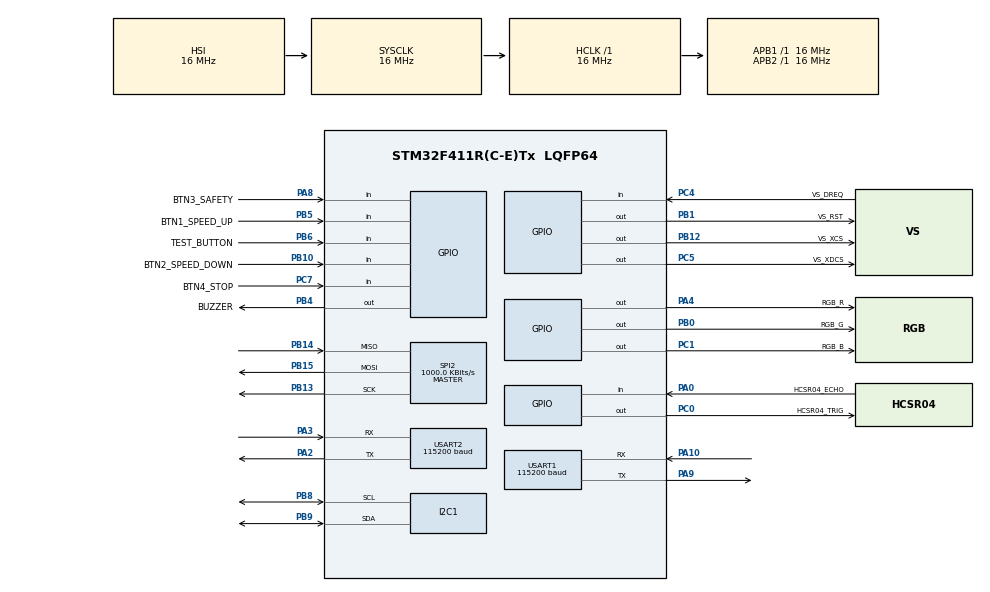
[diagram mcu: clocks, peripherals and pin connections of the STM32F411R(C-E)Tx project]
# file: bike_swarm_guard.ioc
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Mcu.Family=STM32F4
Mcu.Name=STM32F411R(C-E)Tx
Mcu.Package=LQFP64
NVIC.PriorityGroup=NVIC_PRIORITYGROUP_4
NVIC.USART2_IRQn=true\:0\:0\:false\:false\:true\:true\:true\:true
NVIC.USART1_IRQn=true\:0\:0\:false\:false\:true\:true\:true\:true
PA0-WKUP.GPIO_Label=HCSR04_ECHO
PA0-WKUP.GPIO_PuPd=GPIO_PULLDOWN
PA0-WKUP.Signal=GPIO_Input
PA2.Mode=Asynchronous
PA2.Signal=USART2_TX
PA3.Mode=Asynchronous
PA3.Signal=USART2_RX
PA9.Mode=Asynchronous
PA9.Signal=USART1_TX
PA10.Mode=Asynchronous
PA10.Signal=USART1_RX
PA4.GPIO_Label=RGB_R
PA4.Signal=GPIO_Output
PA8.GPIO_Label=BTN3_SAFETY
PA8.GPIO_PuPd=GPIO_PULLUP
PA8.Signal=GPIO_Input
PB0.GPIO_Label=RGB_G
PB0.Signal=GPIO_Output
PB1.GPIO_Label=VS_RST
PB1.PinState=GPIO_PIN_SET
PB1.Signal=GPIO_Output
PB10.GPIO_Label=BTN2_SPEED_DOWN
PB10.GPIO_PuPd=GPIO_PULLUP
PB10.Signal=GPIO_Input
PB12.GPIO_Label=VS_XCS
PB12.PinState=GPIO_PIN_SET
PB12.Signal=GPIO_Output
PB13.Mode=Full_Duplex_Master
PB13.Signal=SPI2_SCK
PB14.Mode=Full_Duplex_Master
PB14.Signal=SPI2_MISO
PB15.Mode=Full_Duplex_Master
PB15.Signal=SPI2_MOSI
PB4.GPIO_Label=BUZZER
PB4.Signal=GPIO_Output
PB5.GPIO_Label=BTN1_SPEED_UP
PB5.GPIO_PuPd=GPIO_PULLUP
PB5.Signal=GPIO_Input
PB6.GPIO_Label=TEST_BUTTON
PB6.GPIO_PuPd=GPIO_PULLUP
PB6.Signal=GPIO_Input
PB8.GPIO_Pu=GPIO_PULLUP
PB8.Mode=I2C
PB8.Signal=I2C1_SCL
PB9.GPIO_Pu=GPIO_PULLUP
PB9.Mode=I2C
PB9.Signal=I2C1_SDA
PC0.GPIO_Label=HCSR04_TRIG
PC0.GPIO_Speed=GPIO_SPEED_FREQ_HIGH
PC0.Signal=GPIO_Output
PC1.GPIO_Label=RGB_B
PC1.Signal=GPIO_Output
PC4.GPIO_Label=VS_DREQ
PC4.Signal=GPIO_Input
PC5.GPIO_Label=VS_XDCS
PC5.PinState=GPIO_PIN_SET
PC5.Signal=GPIO_Output
PC7.GPIO_Label=BTN4_STOP
PC7.GPIO_PuPd=GPIO_PULLUP
PC7.Signal=GPIO_Input
ProjectManager.HeapSize=0x200
ProjectManager.StackSize=0x400
ProjectManager.TargetToolchain=CMake
RCC.AHBFreq_Value=16000000
RCC.APB1Freq_Value=16000000
RCC.APB2Freq_Value=16000000
RCC.CortexFreq_Value=16000000
RCC.HSE_VALUE=25000000
RCC.HSI_VALUE=16000000
RCC.LSE_VALUE=32768
RCC.SYSCLKFreq_VALUE=16000000
RCC.VCOOutputFreq_Value=192000000
SPI2.BaudRatePrescaler=SPI_BAUDRATEPRESCALER_16
SPI2.CalculateBaudRate=1000.0 KBits/s
SPI2.Direction=SPI_DIRECTION_2LINES
SPI2.Mode=SPI_MODE_MASTER
SPI2.VirtualType=VM_MASTER
USART2.BaudRate=115200
USART2.VirtualMode=VM_ASYNC
USART1.BaudRate=115200
USART1.VirtualMode=VM_ASYNC
board=custom

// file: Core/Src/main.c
/* USER CODE BEGIN Header */
/**
  ******************************************************************************
  * @file           : main.c
  * @brief          : Main program body
  ******************************************************************************
  * @attention
  *
  * Copyright (c) 2026 STMicroelectronics.
  * All rights reserved.
  *
  * This software is licensed under terms that can be found in the LICENSE file
  * in the root directory of this software component.
  * If no LICENSE file comes with this software, it is provided AS-IS.
  *
  ******************************************************************************
  */
/* USER CODE END Header */
#include "main.h"

/* USER CODE BEGIN Includes */
#include "app.h"
#include "app_config.h"
#include "uart_service.h"
#if FEATURE_BUTTON_OUTPUT_TEST
#include "output_test.h"
#endif
/* USER CODE END Includes */

I2C_HandleTypeDef hi2c1;

SPI_HandleTypeDef hspi2;

UART_HandleTypeDef huart1;
UART_HandleTypeDef huart2;

void SystemClock_Config(void);
static void MX_GPIO_Init(void);
static void MX_SPI2_Init(void);
static void MX_USART2_UART_Init(void);
static void MX_USART1_UART_Init(void);
static void MX_I2C1_Init(void);

int main(void)
{

  /* MCU Configuration--------------------------------------------------------*/

  /* Reset of all peripherals, Initializes the Flash interface and the Systick. */
  HAL_Init();

  /* Configure the system clock */
  SystemClock_Config();

  /* Initialize all configured peripherals */
  MX_GPIO_Init();
  MX_SPI2_Init();
  MX_USART2_UART_Init();
  MX_USART1_UART_Init();
  MX_I2C1_Init();
  /* USER CODE BEGIN 2 */
  app_init(&hspi2, &huart1, &hi2c1);
#if FEATURE_BUTTON_OUTPUT_TEST
  /* USART1의 1바이트 통신은 유지하고 USB에는 시험용 텍스트만 출력합니다. */
  output_test_init(&huart2, &hspi2);
#else
  /* USART1 D8/PA9 -> ESP32, USART2 -> ST-LINK USB 진단 복사본. */
  uart_service_set_tx_trace(&huart2);
#endif
  /* USER CODE END 2 */

  /* Infinite loop */
  while (1)
  {

    /* USER CODE BEGIN 3 */
#if FEATURE_BUTTON_OUTPUT_TEST
    output_test_process();
#else
    app_process();
#endif
  }
  /* USER CODE END 3 */
}

void SystemClock_Config(void)
{
  RCC_OscInitTypeDef RCC_OscInitStruct = {0};
  RCC_ClkInitTypeDef RCC_ClkInitStruct = {0};

  /** Configure the main internal regulator output voltage
  */
  __HAL_RCC_PWR_CLK_ENABLE();
  __HAL_PWR_VOLTAGESCALING_CONFIG(PWR_REGULATOR_VOLTAGE_SCALE1);

  /** Initializes the RCC Oscillators according to the specified parameters
  * in the RCC_OscInitTypeDef structure.
  */
  RCC_OscInitStruct.OscillatorType = RCC_OSCILLATORTYPE_HSI;
  RCC_OscInitStruct.HSIState = RCC_HSI_ON;
  RCC_OscInitStruct.HSICalibrationValue = RCC_HSICALIBRATION_DEFAULT;
  RCC_OscInitStruct.PLL.PLLState = RCC_PLL_NONE;
  if (HAL_RCC_OscConfig(&RCC_OscInitStruct) != HAL_OK)
  {
    Error_Handler();
  }

  /** Initializes the CPU, AHB and APB buses clocks
  */
  RCC_ClkInitStruct.ClockType = RCC_CLOCKTYPE_HCLK|RCC_CLOCKTYPE_SYSCLK
                              |RCC_CLOCKTYPE_PCLK1|RCC_CLOCKTYPE_PCLK2;
  RCC_ClkInitStruct.SYSCLKSource = RCC_SYSCLKSOURCE_HSI;
  RCC_ClkInitStruct.AHBCLKDivider = RCC_SYSCLK_DIV1;
  RCC_ClkInitStruct.APB1CLKDivider = RCC_HCLK_DIV1;
  RCC_ClkInitStruct.APB2CLKDivider = RCC_HCLK_DIV1;

  if (HAL_RCC_ClockConfig(&RCC_ClkInitStruct, FLASH_LATENCY_0) != HAL_OK)
  {
    Error_Handler();
  }
}

static void MX_I2C1_Init(void)
{

  hi2c1.Instance = I2C1;
  hi2c1.Init.ClockSpeed = 100000;
  hi2c1.Init.DutyCycle = I2C_DUTYCYCLE_2;
  hi2c1.Init.OwnAddress1 = 0;
  hi2c1.Init.AddressingMode = I2C_ADDRESSINGMODE_7BIT;
  hi2c1.Init.DualAddressMode = I2C_DUALADDRESS_DISABLE;
  hi2c1.Init.OwnAddress2 = 0;
  hi2c1.Init.GeneralCallMode = I2C_GENERALCALL_DISABLE;
  hi2c1.Init.NoStretchMode = I2C_NOSTRETCH_DISABLE;
  if (HAL_I2C_Init(&hi2c1) != HAL_OK)
  {
    Error_Handler();
  }

}

static void MX_SPI2_Init(void)
{

  /* SPI2 parameter configuration*/
  hspi2.Instance = SPI2;
  hspi2.Init.Mode = SPI_MODE_MASTER;
  hspi2.Init.Direction = SPI_DIRECTION_2LINES;
  hspi2.Init.DataSize = SPI_DATASIZE_8BIT;
  hspi2.Init.CLKPolarity = SPI_POLARITY_LOW;
  hspi2.Init.CLKPhase = SPI_PHASE_1EDGE;
  hspi2.Init.NSS = SPI_NSS_SOFT;
  hspi2.Init.BaudRatePrescaler = SPI_BAUDRATEPRESCALER_16;
  hspi2.Init.FirstBit = SPI_FIRSTBIT_MSB;
  hspi2.Init.TIMode = SPI_TIMODE_DISABLE;
  hspi2.Init.CRCCalculation = SPI_CRCCALCULATION_DISABLE;
  hspi2.Init.CRCPolynomial = 10;
  if (HAL_SPI_Init(&hspi2) != HAL_OK)
  {
    Error_Handler();
  }

}

static void MX_USART1_UART_Init(void)
{
  huart1.Instance = USART1;
  huart1.Init.BaudRate = 115200;
  huart1.Init.WordLength = UART_WORDLENGTH_8B;
  huart1.Init.StopBits = UART_STOPBITS_1;
  huart1.Init.Parity = UART_PARITY_NONE;
  huart1.Init.Mode = UART_MODE_TX_RX;
  huart1.Init.HwFlowCtl = UART_HWCONTROL_NONE;
  huart1.Init.OverSampling = UART_OVERSAMPLING_16;
  if (HAL_UART_Init(&huart1) != HAL_OK)
  {
    Error_Handler();
  }
}

static void MX_USART2_UART_Init(void)
{

  huart2.Instance = USART2;
  huart2.Init.BaudRate = 115200;
  huart2.Init.WordLength = UART_WORDLENGTH_8B;
  huart2.Init.StopBits = UART_STOPBITS_1;
  huart2.Init.Parity = UART_PARITY_NONE;
  huart2.Init.Mode = UART_MODE_TX_RX;
  huart2.Init.HwFlowCtl = UART_HWCONTROL_NONE;
  huart2.Init.OverSampling = UART_OVERSAMPLING_16;
  if (HAL_UART_Init(&huart2) != HAL_OK)
  {
    Error_Handler();
  }

}

static void MX_GPIO_Init(void)
{
  GPIO_InitTypeDef GPIO_InitStruct = {0};

  /* GPIO Ports Clock Enable */
  __HAL_RCC_GPIOC_CLK_ENABLE();
  __HAL_RCC_GPIOA_CLK_ENABLE();
  __HAL_RCC_GPIOB_CLK_ENABLE();

  /*Configure GPIO pin Output Level */
  HAL_GPIO_WritePin(GPIOC, HCSR04_TRIG_Pin|RGB_B_Pin, GPIO_PIN_RESET);

  /*Configure GPIO pin Output Level */
  HAL_GPIO_WritePin(RGB_R_GPIO_Port, RGB_R_Pin, GPIO_PIN_RESET);

  /*Configure GPIO pin Output Level */
  HAL_GPIO_WritePin(VS_XDCS_GPIO_Port, VS_XDCS_Pin, GPIO_PIN_SET);

  /*Configure GPIO pin Output Level */
  HAL_GPIO_WritePin(GPIOB, RGB_G_Pin|BUZZER_Pin, GPIO_PIN_RESET);

  /*Configure GPIO pin Output Level */
  HAL_GPIO_WritePin(GPIOB, VS_RST_Pin|VS_XCS_Pin, GPIO_PIN_SET);

  /*Configure GPIO pin : HCSR04_TRIG_Pin */
  GPIO_InitStruct.Pin = HCSR04_TRIG_Pin;
  GPIO_InitStruct.Mode = GPIO_MODE_OUTPUT_PP;
  GPIO_InitStruct.Pull = GPIO_NOPULL;
  GPIO_InitStruct.Speed = GPIO_SPEED_FREQ_HIGH;
  HAL_GPIO_Init(HCSR04_TRIG_GPIO_Port, &GPIO_InitStruct);

  /*Configure GPIO pins : RGB_B_Pin VS_XDCS_Pin */
  GPIO_InitStruct.Pin = RGB_B_Pin|VS_XDCS_Pin;
  GPIO_InitStruct.Mode = GPIO_MODE_OUTPUT_PP;
  GPIO_InitStruct.Pull = GPIO_NOPULL;
  GPIO_InitStruct.Speed = GPIO_SPEED_FREQ_LOW;
  HAL_GPIO_Init(GPIOC, &GPIO_InitStruct);

  /*Configure GPIO pin : HCSR04_ECHO_Pin */
  GPIO_InitStruct.Pin = HCSR04_ECHO_Pin;
  GPIO_InitStruct.Mode = GPIO_MODE_INPUT;
  GPIO_InitStruct.Pull = GPIO_PULLDOWN;
  HAL_GPIO_Init(HCSR04_ECHO_GPIO_Port, &GPIO_InitStruct);

  /*Configure GPIO pin : RGB_R_Pin */
  GPIO_InitStruct.Pin = RGB_R_Pin;
  GPIO_InitStruct.Mode = GPIO_MODE_OUTPUT_PP;
  GPIO_InitStruct.Pull = GPIO_NOPULL;
  GPIO_InitStruct.Speed = GPIO_SPEED_FREQ_LOW;
  HAL_GPIO_Init(RGB_R_GPIO_Port, &GPIO_InitStruct);

  /*Configure GPIO pin : VS_DREQ_Pin */
  GPIO_InitStruct.Pin = VS_DREQ_Pin;
  GPIO_InitStruct.Mode = GPIO_MODE_INPUT;
  GPIO_InitStruct.Pull = GPIO_NOPULL;
  HAL_GPIO_Init(VS_DREQ_GPIO_Port, &GPIO_InitStruct);

  /*Configure GPIO pins : RGB_G_Pin VS_RST_Pin VS_XCS_Pin BUZZER_Pin */
  GPIO_InitStruct.Pin = RGB_G_Pin|VS_RST_Pin|VS_XCS_Pin|BUZZER_Pin;
  GPIO_InitStruct.Mode = GPIO_MODE_OUTPUT_PP;
  GPIO_InitStruct.Pull = GPIO_NOPULL;
  GPIO_InitStruct.Speed = GPIO_SPEED_FREQ_LOW;
  HAL_GPIO_Init(GPIOB, &GPIO_InitStruct);

  /*Configure GPIO pins : BTN2_SPEED_DOWN_Pin BTN1_SPEED_UP_Pin */
  GPIO_InitStruct.Pin = BTN2_SPEED_DOWN_Pin|BTN1_SPEED_UP_Pin;
  GPIO_InitStruct.Mode = GPIO_MODE_INPUT;
  GPIO_InitStruct.Pull = GPIO_PULLUP;
  HAL_GPIO_Init(GPIOB, &GPIO_InitStruct);

  /*Configure GPIO pin : BTN4_STOP_Pin */
  GPIO_InitStruct.Pin = BTN4_STOP_Pin;
  GPIO_InitStruct.Mode = GPIO_MODE_INPUT;
  GPIO_InitStruct.Pull = GPIO_PULLUP;
  HAL_GPIO_Init(BTN4_STOP_GPIO_Port, &GPIO_InitStruct);

  /*Configure GPIO pin : BTN3_SAFETY_Pin */
  GPIO_InitStruct.Pin = BTN3_SAFETY_Pin;
  GPIO_InitStruct.Mode = GPIO_MODE_INPUT;
  GPIO_InitStruct.Pull = GPIO_PULLUP;
  HAL_GPIO_Init(BTN3_SAFETY_GPIO_Port, &GPIO_InitStruct);

  /*Configure GPIO pin : TEST_BUTTON_Pin (D10/PB6, button to GND) */
  GPIO_InitStruct.Pin = TEST_BUTTON_Pin;
  GPIO_InitStruct.Mode = GPIO_MODE_INPUT;
  GPIO_InitStruct.Pull = GPIO_PULLUP;
  HAL_GPIO_Init(TEST_BUTTON_GPIO_Port, &GPIO_InitStruct);

}

void Error_Handler(void)
{
  __disable_irq();
  while (1)
  {
  }
}
